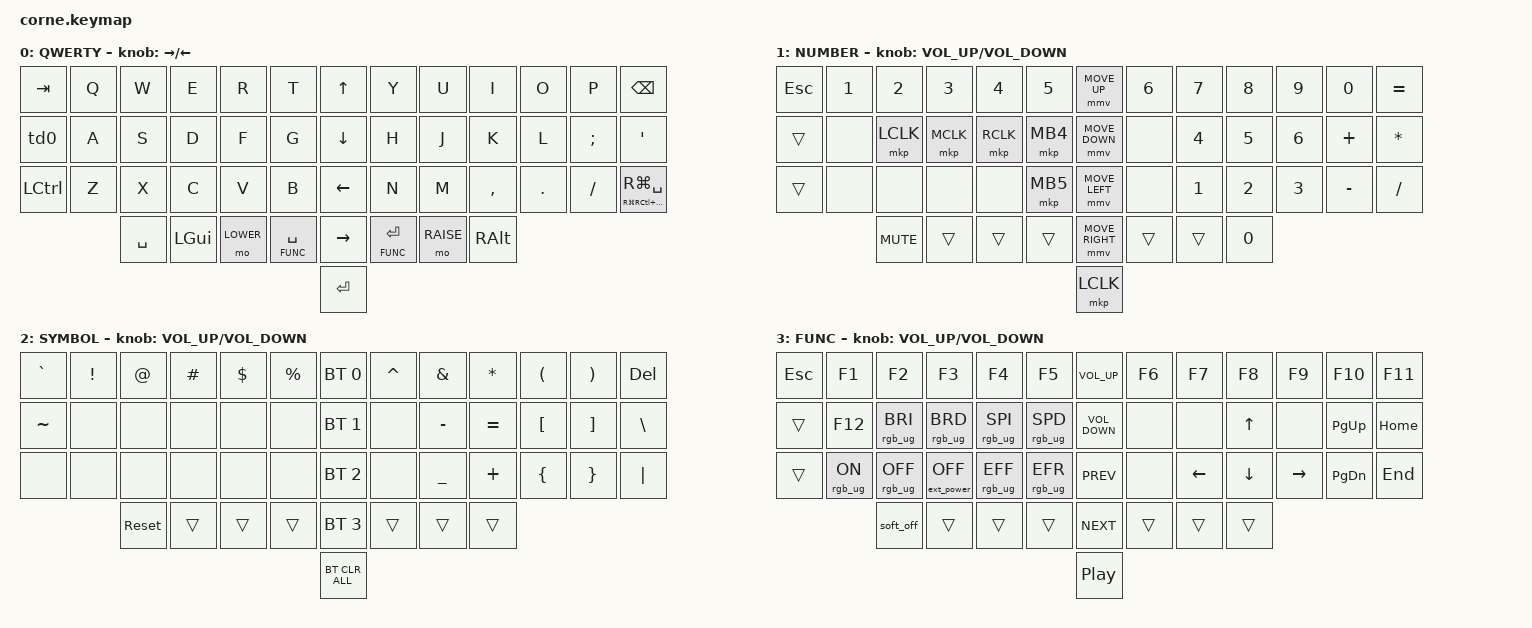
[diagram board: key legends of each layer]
#include <behaviors/mouse_keys.dtsi>
#include <behaviors.dtsi>
#include <dt-bindings/zmk/bt.h>
#include <dt-bindings/zmk/ext_power.h>
#include <dt-bindings/zmk/keys.h>
#include <dt-bindings/zmk/mouse.h>
#include <dt-bindings/zmk/outputs.h>
#include <dt-bindings/zmk/rgb.h>

#define ZMK_MOUSE_DEFAULT_MOVE_VAL 1200  // 600
#define ZMK_MOUSE_DEFAULT_SCRL_VAL 20    // 10

#define U_MS_U &mmv MOVE_UP
#define U_MS_D &mmv MOVE_DOWN
#define U_MS_L &mmv MOVE_LEFT
#define U_MS_R &mmv MOVE_RIGHT

#define DEFAULT 0
#define LOWER   1
#define RAISE   2
#define FUNC    3

/ {
    behaviors {
        td0: td0 {
            compatible = "zmk,behavior-tap-dance";
            label = "TD0";
            #binding-cells = <0>;
            bindings = <&kp LEFT_SHIFT>, <&kp CAPS>;
        };

        mmv {
            acceleration-exponent = <1>;      // 1
            time-to-max-speed-ms = <900>;    // 40
            delay-ms = <0>;                   // 0
        };

        msc {
            acceleration-exponent = <1>;      // 0
            time-to-max-speed-ms = <400>;      // 500
            delay-ms = <0>;                   // 10
        };
    };

    keymap {
        compatible = "zmk,keymap";

        default_layer {
            display-name = "QWERTY";

            // --------------------------------------------------------------------------------------------------------------
            // | TAB        |  Q  |  W  |  E  |  R  |  T  |         ↑         |  Y  |  U  |  I  |  O  |  P  | BKSP          |
            // | SHIFT/CAPS |  A  |  S  |  D  |  F  |  G  |    ←   ENT   →    |  H  |  J  |  K  |  L  |  ;  |  '            |
            // | CTRL       |  Z  |  X  |  C  |  V  |  B  |         ↓         |  N  |  M  |  ,  |  .  |  /  | HYPER/RAYCAST |
            //                          | CMD | LWR | SPC |       SPACE       | ENT | RSE | ALT |

            bindings = <
&kp TAB    &kp Q  &kp W      &kp E     &kp R      &kp T           &kp UP_ARROW     &kp Y           &kp U      &kp I      &kp O    &kp P     &kp BSPC
&td0       &kp A  &kp S      &kp D     &kp F      &kp G           &kp DOWN_ARROW   &kp H           &kp J      &kp K      &kp L    &kp SEMI  &kp SQT
&kp LCTRL  &kp Z  &kp X      &kp C     &kp V      &kp B           &kp LEFT_ARROW   &kp N           &kp M      &kp COMMA  &kp DOT  &kp FSLH  &mt RG(RC(RA(RSHIFT))) RG(SPACE)
                  &kp SPACE  &kp LGUI  &mo LOWER  &lt FUNC SPACE  &kp RIGHT_ARROW  &lt FUNC ENTER  &mo RAISE  &kp RALT
                                                                  &kp ENTER
            >;

            sensor-bindings = <&inc_dec_kp RIGHT LEFT>;
        };

        lower_layer {
            display-name = "NUMBER";

            // ------------------------------------------------------------------------------------------------
            // | ESC |  1  |  2   |  3   |  4   |  5  |         ↑         |  6  |  7  |  8  |  9  |  0  |  =  |
            // |     |     | LCLK | MCLK | RCLK | MB4 |    ←  L_CLK  →    |     |  4  |  5  |  6  |  +  |  *  |
            // |     |     |      |      |      | MB5 |         ↓         |     |  1  |  2  |  3  |  -  |  /  |
            //                    |      |      |     |        MUTE       |     |     |  0  |

            bindings = <
&kp ESC  &kp N1  &kp N2      &kp N3     &kp N4     &kp N5    &mmv MOVE_UP     &kp N6  &kp N7  &kp N8  &kp N9  &kp N0     &kp EQUAL
&trans   &none   &mkp LCLK   &mkp MCLK  &mkp RCLK  &mkp MB4  &mmv MOVE_DOWN   &none   &kp N4  &kp N5  &kp N6  &kp PLUS   &kp ASTRK
&trans   &none   &none       &none      &none      &mkp MB5  &mmv MOVE_LEFT   &none   &kp N1  &kp N2  &kp N3  &kp MINUS  &kp FSLH
                 &kp C_MUTE  &trans     &trans     &trans    &mmv MOVE_RIGHT  &trans  &trans  &kp N0
                                                             &mkp LCLK
            >;

            sensor-bindings = <&inc_dec_kp C_VOLUME_UP C_VOLUME_DOWN>;
        };

        raise_layer {
            display-name = "SYMBOL";

            // ---------------------------------------------------------------------------------------------
            // |  `  |  !  |  @  |  #  |  $  |  %  |        BT1        |  ^  |  &  |  *  |  (  |  )  | DEL |
            // |  ~  |     |     |     |     |     |  BT3  BTCLR  BT4  |     |  -  |  =  |  [  |  ]  |  \  |
            // |     |     |     |     |     |     |        BT2        |     |  _  |  +  |  {  |  }  |  |  |
            //                   |     |     |     |       RESET       |     |     |     |

            bindings = <
&kp GRAVE  &kp EXCL  &kp AT      &kp HASH  &kp DLLR  &kp PRCNT  &bt BT_SEL 0    &kp CARET  &kp AMPS   &kp ASTRK  &kp LPAR  &kp RPAR  &kp DEL
&kp TILDE  &none     &none       &none     &none     &none      &bt BT_SEL 1    &none      &kp MINUS  &kp EQUAL  &kp LBKT  &kp RBKT  &kp BSLH
&none      &none     &none       &none     &none     &none      &bt BT_SEL 2    &none      &kp UNDER  &kp PLUS   &kp LBRC  &kp RBRC  &kp PIPE
                     &sys_reset  &trans    &trans    &trans     &bt BT_SEL 3    &trans     &trans     &trans
                                                                &bt BT_CLR_ALL
            >;

            sensor-bindings = <&inc_dec_kp C_VOLUME_UP C_VOLUME_DOWN>;
        };

        func_layer {
            display-name = "FUNC";

            // ----------------------------------------------------------------------------------------------------------------------
            // | ESC | F1      | F2      | F3      | F4      | F5      |        VOL_UP       | F6   | F7  | F8  | F9  | F10  | F11  |
            // |     | F12     | RGB_BRI | RGB_BRD | RGB_SPI | RGB_SPD |  PREV   PLAY  NEXT  |      |     | UP  |     | PGUP | HOME |
            // |     | RGB_ON  | RGB_OFF | EP_OFF  | RGB_EFF | RGB_EFR |        VOL_DN       |      | LFT | DWN | RGT | PGDN | END  |
            //                           |         |         |         |       SOFT_OFF      |      |     |     |

            bindings = <
&kp ESC  &kp F1          &kp F2           &kp F3             &kp F4           &kp F5           &kp C_VOLUME_UP    &kp F6  &kp F7     &kp F8     &kp F9     &kp F10    &kp F11
&trans   &kp F12         &rgb_ug RGB_BRI  &rgb_ug RGB_BRD    &rgb_ug RGB_SPI  &rgb_ug RGB_SPD  &kp C_VOLUME_DOWN  &none   &none      &kp UP     &none      &kp PG_UP  &kp HOME
&trans   &rgb_ug RGB_ON  &rgb_ug RGB_OFF  &ext_power EP_OFF  &rgb_ug RGB_EFF  &rgb_ug RGB_EFR  &kp C_PREV         &none   &kp LEFT   &kp DOWN   &kp RIGHT  &kp PG_DN  &kp END
                         &soft_off        &trans             &trans           &trans           &kp C_NEXT         &trans  &trans     &trans
                                                                                               &kp C_PLAY_PAUSE
            >;

            sensor-bindings = <&inc_dec_kp C_VOLUME_UP C_VOLUME_DOWN>;
        };
    };
};
